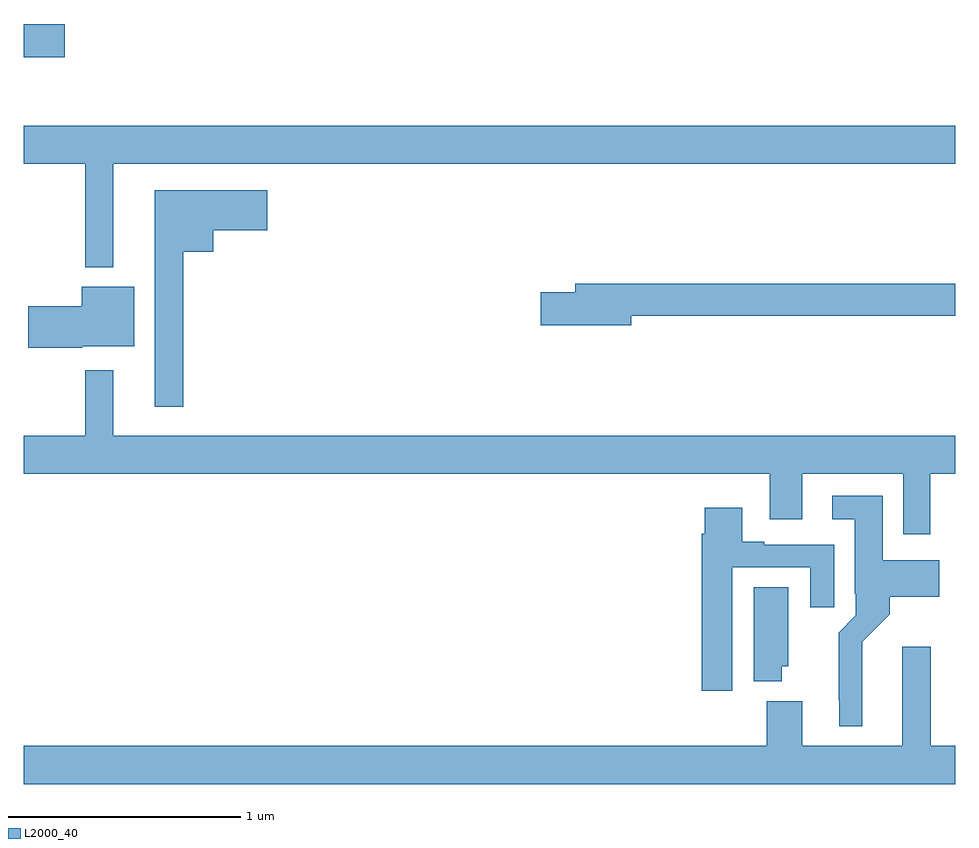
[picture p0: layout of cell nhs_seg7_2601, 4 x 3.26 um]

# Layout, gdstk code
import gdstk
lib = gdstk.Library(unit=1e-6, precision=1e-09)
def R(c, l, rs):  # rectangles x0, y0, x1, y1
    for r in rs: c.add(gdstk.rectangle(r[:2], r[2:], *l))
def P(c, l, *ps):  # polygons
    for p in ps: c.add(gdstk.Polygon(p, *l))
L2000_40 = (2000, 40)

nhs_seg7_2601 = lib.new_cell('nhs_seg7_2601')
R(nhs_seg7_2601, L2000_40, [(279,1079.662,279.175,1079.804)])
P(nhs_seg7_2601, L2000_40, [(279.385,1079.204),(283,1079.204),(283,1079.368),(279,1079.368),(279,1079.204),(279.264,1079.204),(279.264,1078.76),(279.385,1078.76)],
  [(279.685,1078.826),(279.814,1078.826),(279.814,1078.919),(280.045,1078.919),(280.045,1079.089),(279.563,1079.089),(279.563,1078.161),(279.685,1078.161)],
  [(281.608,1078.552),(283,1078.552),(283,1078.688),(281.369,1078.688),(281.369,1078.652),(281.22,1078.652),(281.22,1078.51),(281.608,1078.51)],
  [(279.252,1078.421),(279.475,1078.421),(279.475,1078.675),(279.248,1078.675),(279.248,1078.592),(279.018,1078.592),(279.018,1078.414),(279.252,1078.414)],
  [(282.893,1077.872),(283,1077.872),(283,1078.036),(279.385,1078.036),(279.385,1078.318),(279.264,1078.318),(279.264,1078.036),(279,1078.036),(279,1077.872),(282.203,1077.872),(282.203,1077.678),(282.343,1077.678),(282.343,1077.872),(282.777,1077.872),(282.777,1077.612),(282.893,1077.612)],
  [(282.601,1077.152),(282.719,1077.27),(282.719,1077.344),(282.931,1077.344),(282.931,1077.502),(282.688,1077.502),(282.688,1077.778),(282.471,1077.778),(282.471,1077.677),(282.569,1077.677),(282.569,1077.358),(282.573,1077.358),(282.573,1077.264),(282.499,1077.19),(282.499,1076.899),(282.503,1076.899),(282.503,1076.789),(282.601,1076.789)],
  [(282.043,1077.471),(282.377,1077.471),(282.377,1077.3),(282.481,1077.3),(282.481,1077.567),(282.181,1077.567),(282.181,1077.58),(282.085,1077.58),(282.085,1077.727),(281.924,1077.727),(281.924,1077.614),(281.912,1077.614),(281.912,1076.94),(282.043,1076.94)],
  [(282.256,1077.045),(282.283,1077.045),(282.283,1077.386),(282.134,1077.386),(282.134,1076.981),(282.256,1076.981)],
  [(283,1076.704),(282.896,1076.704),(282.896,1077.13),(282.773,1077.13),(282.773,1076.704),(282.343,1076.704),(282.343,1076.896),(282.191,1076.896),(282.191,1076.704),(279,1076.704),(279,1076.54),(283,1076.54)])

lib.write_gds('nhs_seg7_2601.gds')
